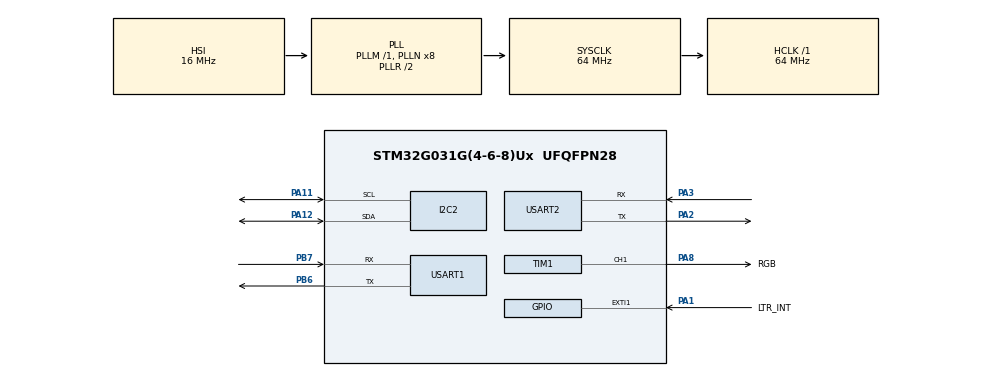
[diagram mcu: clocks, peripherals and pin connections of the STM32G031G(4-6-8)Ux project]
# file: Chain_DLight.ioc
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Dma.Request0=USART1_RX
Dma.Request1=USART1_TX
Dma.Request2=USART2_RX
Dma.Request3=USART2_TX
Dma.Request4=TIM1_CH1
Dma.TIM1_CH1.4.Direction=DMA_MEMORY_TO_PERIPH
Dma.TIM1_CH1.4.EventEnable=DISABLE
Dma.TIM1_CH1.4.Instance=DMA1_Channel5
Dma.TIM1_CH1.4.MemDataAlignment=DMA_MDATAALIGN_BYTE
Dma.TIM1_CH1.4.MemInc=DMA_MINC_ENABLE
Dma.TIM1_CH1.4.Mode=DMA_NORMAL
Dma.TIM1_CH1.4.PeriphDataAlignment=DMA_PDATAALIGN_HALFWORD
Dma.TIM1_CH1.4.PeriphInc=DMA_PINC_DISABLE
Dma.TIM1_CH1.4.Polarity=HAL_DMAMUX_REQ_GEN_RISING
Dma.TIM1_CH1.4.Priority=DMA_PRIORITY_LOW
Dma.TIM1_CH1.4.RequestNumber=1
Dma.TIM1_CH1.4.SignalID=NONE
Dma.TIM1_CH1.4.SyncEnable=DISABLE
Dma.TIM1_CH1.4.SyncPolarity=HAL_DMAMUX_SYNC_NO_EVENT
Dma.TIM1_CH1.4.SyncRequestNumber=1
Dma.TIM1_CH1.4.SyncSignalID=NONE
Dma.USART1_RX.0.Direction=DMA_PERIPH_TO_MEMORY
Dma.USART1_RX.0.EventEnable=DISABLE
Dma.USART1_RX.0.Instance=DMA1_Channel1
Dma.USART1_RX.0.MemDataAlignment=DMA_MDATAALIGN_BYTE
Dma.USART1_RX.0.MemInc=DMA_MINC_ENABLE
Dma.USART1_RX.0.Mode=DMA_NORMAL
Dma.USART1_RX.0.PeriphDataAlignment=DMA_PDATAALIGN_BYTE
Dma.USART1_RX.0.PeriphInc=DMA_PINC_DISABLE
Dma.USART1_RX.0.Polarity=HAL_DMAMUX_REQ_GEN_RISING
Dma.USART1_RX.0.Priority=DMA_PRIORITY_LOW
Dma.USART1_RX.0.RequestNumber=1
Dma.USART1_RX.0.SignalID=NONE
Dma.USART1_RX.0.SyncEnable=DISABLE
Dma.USART1_RX.0.SyncPolarity=HAL_DMAMUX_SYNC_NO_EVENT
Dma.USART1_RX.0.SyncRequestNumber=1
Dma.USART1_RX.0.SyncSignalID=NONE
Dma.USART1_TX.1.Direction=DMA_MEMORY_TO_PERIPH
Dma.USART1_TX.1.EventEnable=DISABLE
Dma.USART1_TX.1.Instance=DMA1_Channel2
Dma.USART1_TX.1.MemDataAlignment=DMA_MDATAALIGN_BYTE
Dma.USART1_TX.1.MemInc=DMA_MINC_ENABLE
Dma.USART1_TX.1.Mode=DMA_NORMAL
Dma.USART1_TX.1.PeriphDataAlignment=DMA_PDATAALIGN_BYTE
Dma.USART1_TX.1.PeriphInc=DMA_PINC_DISABLE
Dma.USART1_TX.1.Polarity=HAL_DMAMUX_REQ_GEN_RISING
Dma.USART1_TX.1.Priority=DMA_PRIORITY_LOW
Dma.USART1_TX.1.RequestNumber=1
Dma.USART1_TX.1.SignalID=NONE
Dma.USART1_TX.1.SyncEnable=DISABLE
Dma.USART1_TX.1.SyncPolarity=HAL_DMAMUX_SYNC_NO_EVENT
Dma.USART1_TX.1.SyncRequestNumber=1
Dma.USART1_TX.1.SyncSignalID=NONE
Dma.USART2_RX.2.Direction=DMA_PERIPH_TO_MEMORY
Dma.USART2_RX.2.EventEnable=DISABLE
Dma.USART2_RX.2.Instance=DMA1_Channel3
Dma.USART2_RX.2.MemDataAlignment=DMA_MDATAALIGN_BYTE
Dma.USART2_RX.2.MemInc=DMA_MINC_ENABLE
Dma.USART2_RX.2.Mode=DMA_NORMAL
Dma.USART2_RX.2.PeriphDataAlignment=DMA_PDATAALIGN_BYTE
Dma.USART2_RX.2.PeriphInc=DMA_PINC_DISABLE
Dma.USART2_RX.2.Polarity=HAL_DMAMUX_REQ_GEN_RISING
Dma.USART2_RX.2.Priority=DMA_PRIORITY_LOW
Dma.USART2_RX.2.RequestNumber=1
Dma.USART2_RX.2.SignalID=NONE
Dma.USART2_RX.2.SyncEnable=DISABLE
Dma.USART2_RX.2.SyncPolarity=HAL_DMAMUX_SYNC_NO_EVENT
Dma.USART2_RX.2.SyncRequestNumber=1
Dma.USART2_RX.2.SyncSignalID=NONE
Dma.USART2_TX.3.Direction=DMA_MEMORY_TO_PERIPH
Dma.USART2_TX.3.EventEnable=DISABLE
Dma.USART2_TX.3.Instance=DMA1_Channel4
Dma.USART2_TX.3.MemDataAlignment=DMA_MDATAALIGN_BYTE
Dma.USART2_TX.3.MemInc=DMA_MINC_ENABLE
Dma.USART2_TX.3.Mode=DMA_NORMAL
Dma.USART2_TX.3.PeriphDataAlignment=DMA_PDATAALIGN_BYTE
Dma.USART2_TX.3.PeriphInc=DMA_PINC_DISABLE
Dma.USART2_TX.3.Polarity=HAL_DMAMUX_REQ_GEN_RISING
Dma.USART2_TX.3.Priority=DMA_PRIORITY_LOW
Dma.USART2_TX.3.RequestNumber=1
Dma.USART2_TX.3.SignalID=NONE
Dma.USART2_TX.3.SyncEnable=DISABLE
Dma.USART2_TX.3.SyncPolarity=HAL_DMAMUX_SYNC_NO_EVENT
Dma.USART2_TX.3.SyncRequestNumber=1
Dma.USART2_TX.3.SyncSignalID=NONE
I2C2.Timing=0x10B17DB5
IWDG.Prescaler=IWDG_PRESCALER_16
Mcu.Family=STM32G0
Mcu.Name=STM32G031G(4-6-8)Ux
Mcu.Package=UFQFPN28
NVIC.DMA1_Ch4_5_DMAMUX1_OVR_IRQn=true\:1\:0\:true\:false\:true\:false\:true\:true
NVIC.DMA1_Channel1_IRQn=true\:1\:0\:true\:false\:true\:false\:true\:true
NVIC.DMA1_Channel2_3_IRQn=true\:1\:0\:true\:false\:true\:false\:true\:true
NVIC.EXTI0_1_IRQn=true\:0\:0\:false\:false\:true\:true\:true\:true
NVIC.FLASH_IRQn=true\:1\:0\:true\:false\:true\:true\:true\:true
NVIC.TIM14_IRQn=true\:1\:0\:true\:false\:true\:true\:true\:true
NVIC.TIM16_IRQn=true\:1\:0\:true\:false\:true\:true\:true\:true
NVIC.TIM17_IRQn=true\:1\:0\:true\:false\:true\:true\:true\:true
NVIC.USART1_IRQn=true\:0\:0\:false\:false\:true\:true\:true\:true
NVIC.USART2_IRQn=true\:0\:0\:false\:false\:true\:true\:true\:true
PA1.GPIO_Label=LTR_INT
PA1.GPIO_ModeDefaultEXTI=GPIO_MODE_IT_RISING_FALLING
PA1.GPIO_PuPd=GPIO_PULLUP
PA1.Signal=GPXTI1
PA11\ [PA9].Mode=I2C
PA11\ [PA9].Signal=I2C2_SCL
PA12\ [PA10].Mode=I2C
PA12\ [PA10].Signal=I2C2_SDA
PA2.Mode=Asynchronous
PA2.Signal=USART2_TX
PA3.Mode=Asynchronous
PA3.Signal=USART2_RX
PA8.GPIO_Label=RGB
PA8.Signal=S_TIM1_CH1
PB6.Mode=Asynchronous
PB6.Signal=USART1_TX
PB7.Mode=Asynchronous
PB7.Signal=USART1_RX
ProjectManager.HeapSize=0x200
ProjectManager.StackSize=0x400
ProjectManager.TargetToolchain=STM32CubeIDE
RCC.ADCFreq_Value=64000000
RCC.AHBFreq_Value=64000000
RCC.CortexFreq_Value=64000000
RCC.EXTERNAL_CLOCK_VALUE=12288000
RCC.HCLKFreq_Value=64000000
RCC.HSE_VALUE=8000000
RCC.HSI_VALUE=16000000
RCC.LSE_VALUE=32768
RCC.PLLQ=RCC_PLLQ_DIV4
RCC.SYSCLKFreq_VALUE=64000000
RCC.SYSCLKSource=RCC_SYSCLKSOURCE_PLLCLK
RCC.VCOOutputFreq_Value=128000000
SH.S_TIM1_CH1.0=TIM1_CH1,PWM Generation1 CH1
TIM1.Channel-PWM\ Generation1\ CH1=TIM_CHANNEL_1
TIM1.Period=79
TIM1.Prescaler=0
TIM14.Period=1699
TIM14.Prescaler=6399
TIM16.Period=29999
TIM16.Prescaler=6399
TIM17.Period=9999
TIM17.Prescaler=6399
USART1.VirtualMode-Asynchronous=VM_ASYNC
USART2.VirtualMode-Asynchronous=VM_ASYNC
VP_IWDG_VS_IWDG.Mode=IWDG_Activate
VP_TIM14_VS_ClockSourceINT.Mode=Enable_Timer
VP_TIM16_VS_ClockSourceINT.Mode=Enable_Timer
VP_TIM17_VS_ClockSourceINT.Mode=Enable_Timer
VP_TIM1_VS_ClockSourceINT.Mode=Internal
board=custom

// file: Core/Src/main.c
/* USER CODE BEGIN Header */
/**
 ******************************************************************************
 * @file           : main.c
 * @brief          : Main program body
 ******************************************************************************
 * @attention
 *
 * Copyright (c) 2026 STMicroelectronics.
 * All rights reserved.
 *
 * This software is licensed under terms that can be found in the LICENSE file
 * in the root directory of this software component.
 * If no LICENSE file comes with this software, it is provided AS-IS.
 *
 ******************************************************************************
 */
/* USER CODE END Header */
#include "main.h"
#include "dma.h"
#include "i2c.h"
#include "iwdg.h"
#include "tim.h"
#include "usart.h"
#include "gpio.h"

/* USER CODE BEGIN Includes */
#include "SEGGER_RTT.h"

#include "../Sensor_Function/light_sensor.h"

#include "RGB.h"
#include "myflash.h"
#include "base_function.h"
#include "light_function.h"
/* USER CODE END Includes */

/* USER CODE BEGIN PV */
volatile uint32_t g_lux             = 0U;
volatile uint8_t int_status         = 0U;
volatile uint8_t int_release_status = 0U;

// DMA receive buffers
__IO uint8_t g_uart_in_rx_buf[UART_BUFFER_SIZE][BUFFER_SIZE * 2];   // uart_in
                                                                    // receive
                                                                    // buffer for
                                                                    // DMA
__IO uint8_t g_uart_out_rx_buf[UART_BUFFER_SIZE][BUFFER_SIZE * 2];  // uart_out
                                                                    // receive
                                                                    // buffer for
                                                                    // DMA

// Transmission status for UART
__IO uint8_t g_uart_in_rx_index  = 0;  // Index for UART input (receiving) buffer position
__IO uint8_t g_uart_out_rx_index = 0;  // Index for UART output (receiving) buffer position

// Transmission complete flags for UART
__IO uint8_t g_uart_in_transmit_complete  = 1;  // Flag indicating if uart_in transmission is complete (1: complete)
__IO uint8_t g_uart_out_transmit_complete = 1;  // Flag indicating if uart_out transmission is complete (1: complete)

// Command buffer and related variables
__IO uint8_t g_cmd_buf[BUFFER_SIZE] = {0};                    // Command buffer initialized to zero
__IO uint8_t g_cmd_size             = 0;                      // Size of the command currently in the buffer
__IO uint8_t g_cmd_status           = CMD_SPACE_IDLE_STATUS;  // Status of the command processing

// Device status variables
__IO uint8_t g_tail_status        = CHAIN_TAIL_DEVICE;  // Status of the tail device in the chain
__IO uint8_t g_heart_beat_record  = 0;                  // Heartbeat record for monitoring device status
__IO uint8_t g_bootloader_version = 0;                  // Version of the bootloader
__IO uint8_t g_firmware_version   = SOFTWARE_VERSION;   // Version of the firmware
// Device type information
__IO uint16_t g_device_type =
    (uint8_t)((PRODUCT_TYPE_HIGH << 8) | PRODUCT_TYPE_LOW);  // Combined product type from high and low bytes

__IO uint8_t g_light = 0;  // Light status or value

__IO uint8_t g_uid[12] = {0};  // Unique identifier
/* USER CODE END PV */

void SystemClock_Config(void);

/* USER CODE BEGIN 0 */
/**
 * @brief Set the Interrupt Vector Table for the application in SRAM.
 * @param None
 * @retval None
 */
void iap_set(void)
{
    uint8_t i;                                     // Loop index
    uint32_t *pVecTab = (uint32_t *)(0x20000000);  // Pointer to the vector table in SRAM

    // Copy the interrupt vector table from the application address to SRAM
    for (i = 0; i < 48; i++) {
        // Copy each vector entry to the SRAM vector table
        *(pVecTab++) = *(__IO uint32_t *)(APPLICATION_ADDRESS + (i << 2));
    }

    // Enable the SYSCFG peripheral clock
    __HAL_RCC_SYSCFG_CLK_ENABLE();

    // Remap the memory to use SRAM for the vector table
    __HAL_SYSCFG_REMAPMEMORY_SRAM();
}

void HAL_GPIO_EXTI_Rising_Callback(uint16_t GPIO_Pin)
{
    if (GPIO_Pin == LTR_INT_Pin) {
        int_status         = 0;
        int_release_status = 1;
    }
}

void HAL_GPIO_EXTI_Falling_Callback(uint16_t GPIO_Pin)
{
    if (GPIO_Pin == LTR_INT_Pin) {
        int_status         = 1;
        int_release_status = 0;
    }
}

/**
 * @brief Initialize the chain device settings.
 * @param None
 * @retval None
 */
void chain_init(void)
{
    // Retrieve bootloader version number
    g_bootloader_version = get_bootloader_version();

    // Check the RGB light status
    if (get_rgb_light() == 0xFF) {  // If the RGB light status is not set
        g_light = RGB_LIGHT_BASE;   // Set to the base light value
        set_rgb_light(g_light);     // Update the light status in the system
    } else {
        g_light = get_rgb_light();  // Retrieve the current RGB light status
    }
}

void read_uid(void)
{
    uint32_t uid0 = HAL_GetUIDw0();
    uint32_t uid1 = HAL_GetUIDw1();
    uint32_t uid2 = HAL_GetUIDw2();

    for (uint8_t i = 0; i < 4U; i++) {
        g_uid[i]      = (uint8_t)((uid0 >> (i * 8U)) & 0xFFU);
        g_uid[i + 4U] = (uint8_t)((uid1 >> (i * 8U)) & 0xFFU);
        g_uid[i + 8U] = (uint8_t)((uid2 >> (i * 8U)) & 0xFFU);
    }
}

/* USER CODE END 0 */

int main(void)
{

    /* MCU Configuration--------------------------------------------------------*/

    /* Reset of all peripherals, Initializes the Flash interface and the Systick. */
    HAL_Init();

    /* USER CODE BEGIN Init */
    iap_set();
    chain_init();
    read_uid();
    /* USER CODE END Init */

    /* Configure the system clock */
    SystemClock_Config();

    /* Initialize all configured peripherals */
    MX_GPIO_Init();
    MX_DMA_Init();
    MX_I2C2_Init();
    MX_TIM1_Init();
    MX_USART1_UART_Init();
    MX_USART2_UART_Init();
    MX_TIM14_Init();
    MX_TIM16_Init();
    MX_TIM17_Init();
    MX_IWDG_Init();
    /* USER CODE BEGIN 2 */
    rgb_init();
    chain_dlight_init();
    int_status         = (HAL_GPIO_ReadPin(LTR_INT_GPIO_Port, LTR_INT_Pin) == GPIO_PIN_RESET) ? 1U : 0U;
    int_release_status = 0U;

    HAL_Delay(1);
    LL_TIM_ClearFlag_UPDATE(TIM14);  // Clear update TIM14
    LL_TIM_EnableIT_UPDATE(TIM14);   // ENABLE TIM14
    LL_TIM_EnableCounter(TIM14);     // ENABLE TIM14
    HAL_Delay(1);
    LL_TIM_ClearFlag_UPDATE(TIM17);  // Clear update TIM17
    LL_TIM_EnableIT_UPDATE(TIM17);   // ENABLE TIM17
    LL_TIM_EnableCounter(TIM17);     // ENABLE TIM17
    HAL_Delay(1);
    LL_TIM_ClearFlag_UPDATE(TIM16);  // Clear update TIM16
    LL_TIM_EnableIT_UPDATE(TIM16);   // ENABLE TIM16
    LL_TIM_EnableCounter(TIM16);     // ENABLE TIM16
    HAL_Delay(1);

    /* USER CODE END 2 */

    /* USER CODE BEGIN WHILE */
    while (1) {
        if (chain_dlight_is_interrupt_enabled()) {
            if (int_status || HAL_GPIO_ReadPin(LTR_INT_GPIO_Port, LTR_INT_Pin) == GPIO_PIN_RESET) {
                handle_dlight_trigger_event();
                int_status = (HAL_GPIO_ReadPin(LTR_INT_GPIO_Port, LTR_INT_Pin) == GPIO_PIN_RESET) ? 1U : 0U;
                if (!int_status) {
                    int_release_status = 0U;
                }
            } else {
                int_release_status = 0U;
                chain_dlight_poll_lux_data();
            }
        } else {
            int_status         = 0U;
            int_release_status = 0U;
            chain_dlight_poll_lux_data();
        }

        if (g_cmd_status == CMD_SPACE_BUSY_STATUS) {
            switch (g_cmd_buf[0]) {
                case CHAIN_GET_UID:
                    // 获取指定设备的 UID
                    chain_get_uid_handle(g_cmd_buf[1]);
                    break;
                case CHAIN_SET_RGB_VALUE:
                    chain_set_rgb_value((uint8_t *)(g_cmd_buf + 1), (g_cmd_size - 1));
                    break;
                case CHAIN_GET_RGB_VALUE:
                    chain_get_rgb_value((uint8_t *)(g_cmd_buf + 1), (g_cmd_size - 1));
                    break;
                case CHAIN_SET_RGB_LIGHT:
                    chain_set_light_value(g_cmd_buf[1], g_cmd_buf[2]);
                    break;
                case CHAIN_GET_RGB_LIGHT:
                    chain_get_light_value();
                    break;
                case CHAIN_DLIGHT_I2C_MEM_READ:
                    if (g_cmd_size == 6U) {
                        uint16_t reg_addr = (uint16_t)(((uint16_t)g_cmd_buf[4] << 8) | (uint16_t)g_cmd_buf[3]);
                        chain_dlight_i2c_mem_read(g_cmd_buf[1], reg_addr, g_cmd_buf[2], g_cmd_buf[5]);
                    } else {
                        chain_dlight_i2c_mem_read(0x80U, 0U, 0U, 0U);
                    }
                    break;
                case CHAIN_DLIGHT_I2C_MEM_WRITE:
                    if (g_cmd_size >= 6U && g_cmd_size == (uint8_t)(6U + g_cmd_buf[5])) {
                        uint16_t reg_addr = (uint16_t)(((uint16_t)g_cmd_buf[4] << 8) | (uint16_t)g_cmd_buf[3]);
                        chain_dlight_i2c_mem_write(g_cmd_buf[1], reg_addr, g_cmd_buf[2], g_cmd_buf[5],
                                                   (uint8_t *)(g_cmd_buf + 6));
                    } else {
                        chain_dlight_i2c_mem_write(0x80U, 0U, 0U, 0U, NULL);
                    }
                    break;
                case CHAIN_DLIGHT_GET_LUX_DATA:
                    chain_dlight_get_lux_data_handle();
                    break;
                case CHAIN_DLIGHT_SET_INTERRUPT_ENABLE:
                    chain_dlight_set_interrupt_enable((uint8_t *)(g_cmd_buf + 1), (g_cmd_size - 1));
                    break;
                case CHAIN_DLIGHT_GET_INTERRUPT_ENABLE:
                    chain_dlight_get_interrupt_enable();
                    break;
                case CHAIN_DLIGHT_SET_INTERRUPT_THRESHOLD:
                    chain_dlight_set_interrupt_threshold((uint8_t *)(g_cmd_buf + 1), (g_cmd_size - 1));
                    break;
                case CHAIN_DLIGHT_GET_INTERRUPT_THRESHOLD:
                    chain_dlight_get_interrupt_threshold();
                    break;
                case CHAIN_DLIGHT_SET_MEASURE_GAIN:
                    chain_dlight_set_measure_gain((uint8_t *)(g_cmd_buf + 1), (g_cmd_size - 1));
                    break;
                case CHAIN_DLIGHT_GET_MEASURE_GAIN:
                    chain_dlight_get_measure_gain();
                    break;
                case CHAIN_DLIGHT_SET_MEASURE_RESOLUTION:
                    chain_dlight_set_measure_resolution((uint8_t *)(g_cmd_buf + 1), (g_cmd_size - 1));
                    break;
                case CHAIN_DLIGHT_GET_MEASURE_RESOLUTION:
                    chain_dlight_get_measure_resolution();
                    break;
                case CHAIN_DLIGHT_SET_MEASURE_RATE:
                    chain_dlight_set_measure_rate((uint8_t *)(g_cmd_buf + 1), (g_cmd_size - 1));
                    break;
                case CHAIN_DLIGHT_GET_MEASURE_RATE:
                    chain_dlight_get_measure_rate();
                    break;
                case CHAIN_DLIGHT_SET_INTERRUPT_REPORT_ENABLE:
                    chain_dlight_set_report_enable((uint8_t *)(g_cmd_buf + 1), (g_cmd_size - 1));
                    break;
                case CHAIN_DLIGHT_GET_INTERRUPT_REPORT_ENABLE:
                    chain_dlight_get_report_enable();
                    break;
                case CHAIN_GET_DEVICE_TYPE:
                    chain_get_device_type_handle();
                    break;
                case CHAIN_GET_BOOTLOADER_VERSION:
                    chain_get_bootloader_version_handle();
                    break;
                case CHAIN_GET_VERSION_DEVICE:
                    chain_get_firmware_version_handle();
                    break;
                case CHAIN_IAP_UPDATE:
                    chain_iap_update_handle(g_cmd_buf[1]);
                    break;
                default:
                    break;
            }
            g_cmd_status = CMD_SPACE_IDLE_STATUS;
        }

        rgb_update();
        LL_IWDG_ReloadCounter(IWDG);
        /* USER CODE END WHILE */

    }
}

void SystemClock_Config(void)
{
    RCC_OscInitTypeDef RCC_OscInitStruct = {0};
    RCC_ClkInitTypeDef RCC_ClkInitStruct = {0};

    /** Configure the main internal regulator output voltage
     */
    HAL_PWREx_ControlVoltageScaling(PWR_REGULATOR_VOLTAGE_SCALE1);

    /** Initializes the RCC Oscillators according to the specified parameters
     * in the RCC_OscInitTypeDef structure.
     */
    RCC_OscInitStruct.OscillatorType      = RCC_OSCILLATORTYPE_HSI | RCC_OSCILLATORTYPE_LSI;
    RCC_OscInitStruct.HSIState            = RCC_HSI_ON;
    RCC_OscInitStruct.HSIDiv              = RCC_HSI_DIV1;
    RCC_OscInitStruct.HSICalibrationValue = RCC_HSICALIBRATION_DEFAULT;
    RCC_OscInitStruct.LSIState            = RCC_LSI_ON;
    RCC_OscInitStruct.PLL.PLLState        = RCC_PLL_ON;
    RCC_OscInitStruct.PLL.PLLSource       = RCC_PLLSOURCE_HSI;
    RCC_OscInitStruct.PLL.PLLM            = RCC_PLLM_DIV1;
    RCC_OscInitStruct.PLL.PLLN            = 8;
    RCC_OscInitStruct.PLL.PLLP            = RCC_PLLP_DIV2;
    RCC_OscInitStruct.PLL.PLLQ            = RCC_PLLQ_DIV4;
    RCC_OscInitStruct.PLL.PLLR            = RCC_PLLR_DIV2;
    if (HAL_RCC_OscConfig(&RCC_OscInitStruct) != HAL_OK) {
        Error_Handler();
    }

    /** Initializes the CPU, AHB and APB buses clocks
     */
    RCC_ClkInitStruct.ClockType      = RCC_CLOCKTYPE_HCLK | RCC_CLOCKTYPE_SYSCLK | RCC_CLOCKTYPE_PCLK1;
    RCC_ClkInitStruct.SYSCLKSource   = RCC_SYSCLKSOURCE_PLLCLK;
    RCC_ClkInitStruct.AHBCLKDivider  = RCC_SYSCLK_DIV1;
    RCC_ClkInitStruct.APB1CLKDivider = RCC_HCLK_DIV1;

    if (HAL_RCC_ClockConfig(&RCC_ClkInitStruct, FLASH_LATENCY_2) != HAL_OK) {
        Error_Handler();
    }
}

void Error_Handler(void)
{
    __disable_irq();
    while (1) {
    }
}
